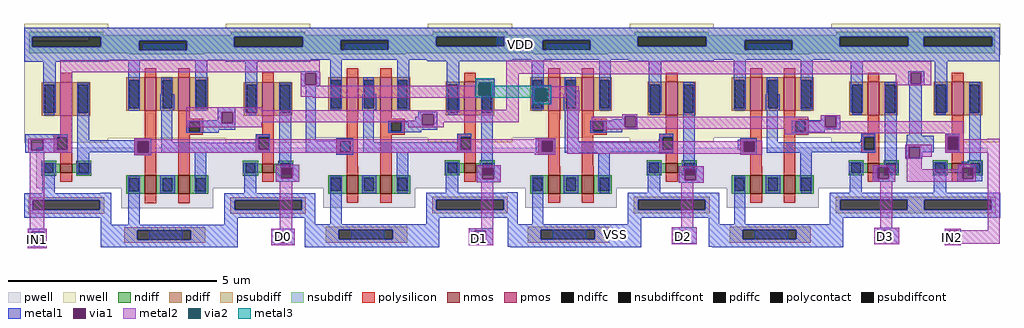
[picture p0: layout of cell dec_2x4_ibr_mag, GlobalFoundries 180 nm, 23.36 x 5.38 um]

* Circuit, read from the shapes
.subckt dec_2x4_ibr_mag IN1 IN2 D0 D1 D2 D3 VSS VDD
XM1 and_2_ibr_0/IN2 IN1 VSS VSS nfet_03v3 w=0.22u l=0.28u
XM2 n1 and_2_ibr_0/IN2 VSS VSS nfet_03v3 w=0.44u l=0.28u
XM3 and_2_ibr_0/nverterlayout_ibr_0/IN and_2_ibr_0/IN1 n1 VSS nfet_03v3 w=0.44u l=0.28u
XM4 D0 and_2_ibr_0/nverterlayout_ibr_0/IN VSS VSS nfet_03v3 w=0.22u l=0.28u
XM5 n2 IN1 VSS VSS nfet_03v3 w=0.44u l=0.28u
XM6 and_2_ibr_1/nverterlayout_ibr_0/IN and_2_ibr_0/IN1 n2 VSS nfet_03v3 w=0.44u l=0.28u
XM7 D1 and_2_ibr_1/nverterlayout_ibr_0/IN VSS VSS nfet_03v3 w=0.22u l=0.28u
XM8 n3 and_2_ibr_0/IN2 VSS VSS nfet_03v3 w=0.44u l=0.28u
XM9 and_2_ibr_2/nverterlayout_ibr_0/IN IN2 n3 VSS nfet_03v3 w=0.44u l=0.28u
XM10 D2 and_2_ibr_2/nverterlayout_ibr_0/IN VSS VSS nfet_03v3 w=0.22u l=0.28u
XM11 n4 IN1 VSS VSS nfet_03v3 w=0.44u l=0.28u
XM12 and_2_ibr_3/nverterlayout_ibr_0/IN IN2 n4 VSS nfet_03v3 w=0.44u l=0.28u
XM13 D3 and_2_ibr_3/nverterlayout_ibr_0/IN VSS VSS nfet_03v3 w=0.22u l=0.28u
XM14 and_2_ibr_0/IN1 IN2 VSS VSS nfet_03v3 w=0.22u l=0.28u
XM15 and_2_ibr_0/IN2 IN1 VDD VDD pfet_03v3 w=0.8u l=0.28u
XM16 and_2_ibr_0/nverterlayout_ibr_0/IN and_2_ibr_0/IN2 VDD VDD pfet_03v3 w=0.8u l=0.28u
XM17 VDD and_2_ibr_0/IN1 and_2_ibr_0/nverterlayout_ibr_0/IN VDD pfet_03v3 w=0.8u l=0.28u
XM18 D0 and_2_ibr_0/nverterlayout_ibr_0/IN VDD VDD pfet_03v3 w=0.8u l=0.28u
XM19 and_2_ibr_1/nverterlayout_ibr_0/IN IN1 VDD VDD pfet_03v3 w=0.8u l=0.28u
XM20 VDD and_2_ibr_0/IN1 and_2_ibr_1/nverterlayout_ibr_0/IN VDD pfet_03v3 w=0.8u l=0.28u
XM21 D1 and_2_ibr_1/nverterlayout_ibr_0/IN VDD VDD pfet_03v3 w=0.8u l=0.28u
XM22 and_2_ibr_2/nverterlayout_ibr_0/IN and_2_ibr_0/IN2 VDD VDD pfet_03v3 w=0.8u l=0.28u
XM23 VDD IN2 and_2_ibr_2/nverterlayout_ibr_0/IN VDD pfet_03v3 w=0.8u l=0.28u
XM24 D2 and_2_ibr_2/nverterlayout_ibr_0/IN VDD VDD pfet_03v3 w=0.8u l=0.28u
XM25 and_2_ibr_3/nverterlayout_ibr_0/IN IN1 VDD VDD pfet_03v3 w=0.8u l=0.28u
XM26 VDD IN2 and_2_ibr_3/nverterlayout_ibr_0/IN VDD pfet_03v3 w=0.8u l=0.28u
XM27 D3 and_2_ibr_3/nverterlayout_ibr_0/IN VDD VDD pfet_03v3 w=0.8u l=0.28u
XM28 and_2_ibr_0/IN1 IN2 VDD VDD pfet_03v3 w=0.8u l=0.28u
.ends

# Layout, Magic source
magic
tech gf180mcuC
magscale 1 10
<< nwell >>
rect 3848 1021 3895 1033
rect 1912 890 2133 892
rect 3801 890 3944 891
rect 1912 888 3944 890
rect 928 835 1020 842
rect 928 773 1021 835
rect 1912 830 3945 888
rect 1764 805 1855 809
rect 1764 773 1856 805
rect 928 771 1856 773
rect 929 720 1856 771
rect 952 715 1856 720
rect 380 654 744 670
rect 531 609 616 654
rect 489 606 616 609
rect 531 600 616 606
rect 380 574 743 600
rect 952 578 1001 715
rect 1912 658 1973 830
rect 2267 828 3945 830
rect 3776 775 3945 828
rect 2036 774 2127 775
rect 2035 771 2127 774
rect 2035 715 2258 771
rect 2035 685 2127 715
rect 2035 684 2126 685
rect 1442 607 1613 657
rect 531 563 616 574
rect 952 553 1000 578
rect 1417 575 1613 607
rect 1835 600 1973 658
rect 2466 625 2539 637
rect 2320 622 3358 625
rect 2466 612 2539 622
rect 2421 607 2539 612
rect 1417 564 1582 575
rect 2466 566 2539 607
rect 3245 608 3359 616
rect 3416 608 3510 632
rect 3841 613 3900 775
rect 3245 599 3510 608
rect 3245 589 3359 599
rect 3416 589 3510 599
rect 3245 566 3510 589
rect -384 517 -254 520
rect 952 519 953 553
rect 1417 551 1505 564
rect 3245 556 3462 566
rect 3245 542 3359 556
<< pwell >>
rect 3811 476 3966 477
rect -64 387 706 476
rect 910 466 3788 476
rect 3796 466 4179 476
rect 910 409 4179 466
rect 910 402 4190 409
rect -50 282 75 387
rect 95 282 706 387
rect 836 330 888 382
rect 913 331 4190 402
rect 913 316 4189 331
rect 913 282 4179 316
<< ndiff >>
rect 836 330 888 382
<< pdiff >>
rect 1781 727 1837 785
rect 2051 700 2107 759
<< psubdiff >>
rect 3851 163 3892 242
<< nsubdiff >>
rect 3848 1014 3895 1033
rect -86 990 4249 1014
rect -372 928 4251 990
<< metal1 >>
rect 3848 1021 3895 1033
rect 1870 920 2080 1020
rect 928 835 1020 842
rect 3835 835 3912 842
rect 928 834 1021 835
rect 928 779 950 834
rect 1003 779 1021 834
rect 928 771 1021 779
rect 3835 783 3847 835
rect 3899 783 3912 835
rect 3835 775 3912 783
rect 531 647 616 670
rect 531 609 550 647
rect 489 606 550 609
rect 531 593 550 606
rect 603 593 616 647
rect 531 563 616 593
rect -389 516 -254 542
rect -389 464 -361 516
rect -304 464 -254 516
rect 132 512 213 522
rect -389 452 -254 464
rect -134 508 213 512
rect -134 456 146 508
rect 132 453 146 456
rect 200 453 213 508
rect 132 442 213 453
rect 952 510 1001 771
rect 2204 650 2261 749
rect 1492 638 1582 649
rect 1492 624 1511 638
rect 1476 607 1511 624
rect 1417 585 1511 607
rect 1564 585 1582 638
rect 1417 564 1582 585
rect 2203 647 2261 650
rect 1417 551 1505 564
rect 2054 510 2146 521
rect 952 452 1167 510
rect 2054 458 2083 510
rect 2135 458 2146 510
rect 2054 452 2146 458
rect 2203 448 2260 647
rect 2466 628 2539 637
rect 2466 612 2479 628
rect 2421 607 2479 612
rect 2466 576 2479 607
rect 2531 576 2539 628
rect 3416 627 3510 632
rect 3416 608 3439 627
rect 2466 566 2539 576
rect 3313 574 3439 608
rect 3492 574 3510 627
rect 3313 566 3510 574
rect 3313 551 3436 566
rect 3841 539 3900 775
rect 3829 535 3900 539
rect 3829 505 3958 535
rect 3826 482 3958 505
rect 3826 430 3838 482
rect 3891 456 3958 482
rect 4013 529 4080 544
rect 4013 468 4024 529
rect 4076 468 4080 529
rect 3891 430 3903 456
rect 4013 454 4080 468
rect 3829 425 3902 430
rect 3829 424 3888 425
rect 810 382 922 396
rect 4091 395 4190 409
rect 4074 394 4190 395
rect 810 330 836 382
rect 888 330 922 382
rect 810 315 922 330
rect 1770 380 1886 392
rect 1770 327 1798 380
rect 1852 327 1886 380
rect 1770 312 1886 327
rect 2737 375 2856 389
rect 2737 322 2766 375
rect 2820 322 2856 375
rect 2737 310 2856 322
rect 3666 383 3773 394
rect 3666 328 3688 383
rect 3743 328 3773 383
rect 4072 380 4190 394
rect 4072 374 4094 380
rect 3666 314 3773 328
rect 4071 328 4094 374
rect 4146 331 4190 380
rect 4146 328 4189 331
rect 4071 316 4189 328
rect -377 75 -286 88
rect -377 8 -362 75
rect -299 8 -286 75
rect -377 -5 -286 8
rect -29 0 22 261
rect 788 76 900 89
rect 788 23 817 76
rect 871 23 900 76
rect 788 10 900 23
rect 948 0 998 260
rect 1732 79 1849 91
rect 1732 26 1759 79
rect 1813 26 1849 79
rect 1732 10 1849 26
rect 1918 4 1968 264
rect 2351 17 2535 101
rect 2704 80 2823 96
rect 2704 27 2734 80
rect 2788 27 2823 80
rect 2704 17 2823 27
rect 2882 2 2932 262
rect 3851 163 3892 242
rect 3674 82 3793 95
rect 3674 29 3704 82
rect 3758 29 3793 82
rect 3674 16 3793 29
rect 4010 80 4087 89
rect 4010 20 4020 80
rect 4078 20 4087 80
rect 4010 10 4087 20
<< via1 >>
rect 950 779 1003 834
rect 3847 783 3899 835
rect 550 593 603 647
rect -361 464 -304 516
rect 146 453 200 508
rect 1511 585 1564 638
rect 2083 458 2135 510
rect 2479 576 2531 628
rect 3439 574 3492 627
rect 3048 457 3101 509
rect 3838 430 3891 482
rect 4024 468 4076 529
rect 836 330 888 382
rect 1798 327 1852 380
rect 2766 322 2820 375
rect 3688 328 3743 383
rect 4094 328 4146 380
rect -362 8 -299 75
rect 817 23 871 76
rect 1759 26 1813 79
rect 2734 27 2788 80
rect 3704 29 3758 82
rect 4020 20 4078 80
<< metal2 >>
rect -222 837 1020 895
rect -376 519 -292 520
rect -222 519 -166 837
rect 928 835 1020 837
rect 1912 890 2133 892
rect 3801 890 3944 891
rect 1912 888 3944 890
rect 1912 835 3945 888
rect 928 834 1021 835
rect 928 779 950 834
rect 1003 779 1021 834
rect 1912 830 3847 835
rect 928 773 1021 779
rect 1765 785 1856 805
rect 1765 773 1781 785
rect 928 771 1781 773
rect 929 727 1781 771
rect 1837 727 1856 785
rect 929 720 1856 727
rect 986 715 1856 720
rect 380 657 744 670
rect 1912 658 1973 830
rect 2267 828 3847 830
rect 3776 783 3847 828
rect 3899 783 3945 835
rect 3776 775 3945 783
rect 2035 771 2126 774
rect 2035 759 2258 771
rect 2035 700 2051 759
rect 2107 749 2258 759
rect 2107 715 2261 749
rect 2107 700 2126 715
rect 2035 684 2126 700
rect 1835 657 1973 658
rect 380 647 1973 657
rect 2204 650 2261 715
rect 380 593 550 647
rect 603 638 1973 647
rect 603 600 1511 638
rect 603 593 743 600
rect 380 574 743 593
rect 1442 585 1511 600
rect 1564 600 1973 638
rect 2203 647 2261 650
rect 1564 585 1613 600
rect 1442 575 1613 585
rect 1472 574 1582 575
rect -376 516 -166 519
rect -376 464 -361 516
rect -304 464 -166 516
rect -376 453 -166 464
rect -369 88 -298 453
rect -222 452 -166 453
rect 132 518 213 522
rect 2049 518 2146 523
rect 132 517 1881 518
rect 2005 517 2146 518
rect 132 510 2146 517
rect 132 508 2083 510
rect 132 453 146 508
rect 200 458 2083 508
rect 2135 458 2146 510
rect 200 453 2146 458
rect 132 452 2146 453
rect 132 442 213 452
rect 2049 443 2146 452
rect 2203 508 2260 647
rect 2466 628 2539 637
rect 2466 625 2479 628
rect 2320 576 2479 625
rect 2531 625 2539 628
rect 3416 627 3510 632
rect 2531 616 3358 625
rect 2531 603 3359 616
rect 3416 603 3439 627
rect 2531 576 3439 603
rect 2320 574 3439 576
rect 3492 603 3510 627
rect 3492 574 4100 603
rect 2320 568 4100 574
rect 2320 566 2490 568
rect 3245 546 4100 568
rect 3245 542 3359 546
rect 4012 544 4100 546
rect 4012 529 4101 544
rect 3031 509 3138 511
rect 3031 508 3048 509
rect 2203 457 3048 508
rect 3101 457 3138 509
rect 2203 449 3138 457
rect 2203 448 2260 449
rect 3031 443 3138 449
rect 3822 482 3948 490
rect 3822 430 3838 482
rect 3891 433 3948 482
rect 4012 468 4024 529
rect 4076 518 4101 529
rect 4216 518 4274 519
rect 4076 468 4274 518
rect 4012 454 4274 468
rect 3891 430 3900 433
rect 3822 424 3900 430
rect 809 382 922 396
rect 809 330 836 382
rect 888 330 922 382
rect 809 315 922 330
rect 1770 380 1886 392
rect 1770 327 1798 380
rect 1852 327 1886 380
rect 828 89 888 315
rect 1770 312 1886 327
rect 2737 375 2856 389
rect 2737 322 2766 375
rect 2820 322 2856 375
rect 1792 91 1849 312
rect 2737 310 2856 322
rect 3666 383 3773 394
rect 3666 328 3688 383
rect 3743 328 3773 383
rect 3666 314 3773 328
rect 3829 374 3900 424
rect 4072 380 4158 398
rect 4072 374 4094 380
rect 3829 328 4094 374
rect 4146 328 4158 380
rect 3829 315 4158 328
rect 2750 96 2807 310
rect -377 75 -286 88
rect -377 8 -362 75
rect -299 8 -286 75
rect 788 76 900 89
rect 788 23 817 76
rect 871 23 900 76
rect 788 10 900 23
rect 1732 79 1849 91
rect 1732 26 1759 79
rect 1813 26 1849 79
rect 1732 10 1849 26
rect 2704 80 2823 96
rect 3703 95 3760 314
rect 2704 27 2734 80
rect 2788 27 2823 80
rect 2704 16 2823 27
rect 3674 82 3793 95
rect 3674 29 3704 82
rect 3758 29 3793 82
rect 3674 16 3793 29
rect 4010 81 4087 89
rect 4216 81 4274 454
rect 4010 80 4274 81
rect 4010 20 4020 80
rect 4078 20 4274 80
rect 4010 17 4274 20
rect 4010 10 4087 17
rect -377 -5 -286 8
<< via2 >>
rect 1781 727 1837 785
rect 2051 700 2107 759
<< metal3 >>
rect 1764 785 1855 809
rect 1764 727 1781 785
rect 1837 773 1855 785
rect 2036 773 2127 775
rect 1837 759 2127 773
rect 1837 727 2051 759
rect 1764 719 2051 727
rect 1784 716 2051 719
rect 2036 700 2051 716
rect 2107 700 2127 759
rect 2036 685 2127 700
use and_2_ibr  and_2_ibr_0
transform 1 0 -257 0 1 -996
box 257 996 1231 2066
use and_2_ibr  and_2_ibr_1
transform 1 0 709 0 1 -995
box 257 996 1231 2066
use and_2_ibr  and_2_ibr_2
transform 1 0 1675 0 1 -995
box 257 996 1231 2066
use and_2_ibr  and_2_ibr_3
transform 1 0 2641 0 1 -995
box 257 996 1231 2066
use nverterlayout_ibr  nverterlayout_ibr_0
transform 1 0 -308 0 1 -79
box -88 220 316 1149
use nverterlayout_ibr  nverterlayout_ibr_1
transform 1 0 3959 0 1 -78
box -88 220 316 1149
<< labels >>
flabel via1 -331 38 -331 38 0 FreeSans 480 0 0 0 IN1
port 1 nsew
flabel via1 4046 46 4046 46 0 FreeSans 480 0 0 0 IN2
port 2 nsew
flabel via1 845 50 845 50 0 FreeSans 480 0 0 0 D0
port 3 nsew
flabel via1 1786 42 1786 42 0 FreeSans 480 0 0 0 D1
port 4 nsew
flabel via1 2761 50 2761 50 0 FreeSans 480 0 0 0 D2
port 5 nsew
flabel via1 3729 50 3729 50 0 FreeSans 480 0 0 0 D3
port 6 nsew
flabel metal1 2436 63 2436 63 0 FreeSans 480 0 0 0 VSS
port 7 nsew
flabel metal1 1978 970 1978 970 0 FreeSans 480 0 0 0 VDD
port 8 nsew
<< end >>

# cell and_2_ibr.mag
magic
tech gf180mcuC
magscale 1 10
<< nwell >>
rect 823 1889 833 2007
<< pwell >>
rect 663 1396 891 1472
rect 762 1278 890 1396
<< metal1 >>
rect 430 1910 630 1970
rect 823 1889 833 2007
rect 730 1560 780 1590
rect 1090 1500 1130 1580
rect 400 1460 450 1490
rect 727 1450 984 1497
rect 819 1159 828 1256
rect 460 1020 620 1080
rect 819 996 883 1159
use nand2_ibr  nand2_ibr_0
transform 1 0 327 0 1 1184
box -70 -188 502 863
use nverterlayout_ibr  nverterlayout_ibr_0
transform 1 0 915 0 1 917
box -88 220 316 1149
<< labels >>
flabel metal1 535 1056 535 1056 0 FreeSans 480 0 0 0 VSS
port 0 nsew
flabel metal1 525 1933 525 1933 0 FreeSans 480 0 0 0 VDD
port 1 nsew
flabel metal1 429 1474 429 1474 0 FreeSans 480 0 0 0 IN2
port 2 nsew
flabel metal1 1114 1540 1114 1540 0 FreeSans 480 0 0 0 OUT
port 4 nsew
flabel metal1 753 1572 753 1572 0 FreeSans 480 0 0 0 IN1
port 5 nsew
<< end >>

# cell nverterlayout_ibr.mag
magic
tech gf180mcuC
magscale 1 10
<< nwell >>
rect -88 1000 316 1149
rect -88 968 315 1000
rect 4 724 63 960
rect 64 612 121 621
<< pwell >>
rect 64 534 121 540
rect 54 532 121 534
<< psubdiff >>
rect -67 305 295 320
rect -67 258 -46 305
rect 275 258 295 305
rect -67 241 295 258
<< nsubdiff >>
rect -64 1086 292 1111
rect -64 1040 -48 1086
rect 279 1040 292 1086
rect -64 1027 292 1040
<< psubdiffcont >>
rect -46 258 275 305
<< nsubdiffcont >>
rect -48 1040 279 1086
<< polysilicon >>
rect 86 621 142 672
rect 54 606 142 621
rect 54 546 70 606
rect 118 546 142 606
rect 54 532 142 546
rect 86 524 142 532
<< polycontact >>
rect 70 546 118 606
<< metal1 >>
rect -88 1086 315 1130
rect -88 1040 -48 1086
rect 279 1040 315 1086
rect -88 968 315 1040
rect 4 724 63 968
rect 54 606 121 621
rect 54 596 70 606
rect 53 546 70 596
rect 118 546 121 606
rect 53 532 121 546
rect -1 339 58 485
rect 168 429 224 867
rect -88 305 316 339
rect -88 258 -46 305
rect 275 258 316 305
rect -88 220 316 258
use nmos_3p3_DDNVWA  nmos_3p3_DDNVWA_0
transform 1 0 114 0 1 458
box -144 -97 144 97
use pmos_3p3_MQGBLR  pmos_3p3_MQGBLR_0
transform 1 0 114 0 1 790
box -202 -210 202 210
<< labels >>
flabel nsubdiffcont 116 1065 116 1065 0 FreeSans 480 0 0 0 VDD
port 0 nsew
flabel psubdiffcont 113 283 113 283 0 FreeSans 480 0 0 0 VSS
port 1 nsew
flabel metal1 194 631 194 631 0 FreeSans 480 0 0 0 OUT
port 2 nsew
flabel polycontact 92 575 92 575 0 FreeSans 480 0 0 0 IN
port 3 nsew
<< end >>

# cell nmos_3p3_DDNVWA: kit device nmos_3p3, w 0.220 l 0.280 m 1 nf 1 diffcov 100 polycov 100 guard 0 glc 0 grc 0 gtc 0 gbc 0 tbcov 100 rlcov 100 topc 0 botc 0 poverlap 0 doverlap 1 lmin 0.28 wmin 0.22 full_metal 0 compatible {nmos_3p3 nmos_6p0 nmos_6p0_nat}

# cell pmos_3p3_MQGBLR: kit device pmos_3p3, w 0.8 l 0.280 m 1 nf 1 diffcov 100 polycov 100 guard 0 glc 0 grc 0 gtc 0 gbc 0 tbcov 100 rlcov 100 topc 0 botc 0 poverlap 0 doverlap 1 lmin 0.28 wmin 0.22 full_metal 0 compatible {pmos_3p3 pmos_6p0}

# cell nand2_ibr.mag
magic
tech gf180mcuC
magscale 1 10
<< nwell >>
rect -64 708 500 863
rect -64 682 32 708
rect 33 682 500 708
rect 191 384 243 624
<< psubdiff >>
rect 13 -105 402 -91
rect 13 -151 75 -105
rect 333 -151 402 -105
rect 13 -167 402 -151
<< nsubdiff >>
rect 41 802 395 826
rect 41 756 85 802
rect 312 756 395 802
rect 41 736 395 756
<< psubdiffcont >>
rect 75 -151 333 -105
<< nsubdiffcont >>
rect 85 756 312 802
<< polysilicon >>
rect 311 421 391 427
rect 112 334 166 421
rect 63 318 166 334
rect 63 268 81 318
rect 130 268 166 318
rect 63 254 166 268
rect 112 200 166 254
rect 272 414 391 421
rect 272 366 326 414
rect 374 366 391 414
rect 272 360 391 366
rect 272 350 390 360
rect 272 200 327 350
<< polycontact >>
rect 81 268 130 318
rect 326 366 374 414
<< metal1 >>
rect -64 817 500 863
rect -64 802 499 817
rect -64 756 85 802
rect 312 756 499 802
rect -64 708 499 756
rect 33 471 89 708
rect 191 545 243 624
rect 186 470 253 545
rect 354 473 411 708
rect 63 325 144 334
rect 53 318 144 325
rect 53 278 81 318
rect 63 268 81 278
rect 130 268 144 318
rect 63 254 144 268
rect 191 314 243 470
rect 311 414 465 418
rect 311 366 326 414
rect 374 366 465 414
rect 311 361 465 366
rect 311 360 391 361
rect 191 265 406 314
rect 34 -79 88 149
rect 186 70 255 156
rect 351 80 406 265
rect -70 -105 493 -79
rect -70 -151 75 -105
rect 333 -151 493 -105
rect -70 -188 493 -151
use nmos_3p3_5QNVWA  nmos_3p3_5QNVWA_0
transform 1 0 140 0 1 112
box -140 -112 140 112
use nmos_3p3_5QNVWA  nmos_3p3_5QNVWA_1
transform 1 0 300 0 1 112
box -140 -112 140 112
use pmos_3p3_M8SWPS  pmos_3p3_M8SWPS_0
transform 1 0 300 0 1 545
box -202 -210 202 210
use pmos_3p3_M8SWPS  pmos_3p3_M8SWPS_1
transform 1 0 140 0 1 545
box -202 -210 202 210
<< labels >>
flabel polycontact 101 293 101 293 0 FreeSans 480 0 0 0 IN2
port 1 nsew
flabel metal1 425 394 425 394 0 FreeSans 480 0 0 0 IN1
port 2 nsew
flabel metal1 374 282 374 282 0 FreeSans 480 0 0 0 OUT
port 3 nsew
flabel psubdiffcont 204 -128 204 -128 0 FreeSans 480 0 0 0 VSS
port 4 nsew
flabel nsubdiffcont 200 777 200 777 0 FreeSans 480 0 0 0 VDD
port 0 nsew
<< end >>

# cell nmos_3p3_5QNVWA: kit device nmos_3p3, w 0.440 l 0.280 m 1 nf 1 diffcov 100 polycov 100 guard 0 glc 0 grc 0 gtc 0 gbc 0 tbcov 100 rlcov 100 topc 0 botc 0 poverlap 0 doverlap 1 lmin 0.28 wmin 0.22 full_metal 0 compatible {nmos_3p3 nmos_6p0 nmos_6p0_nat}

# cell pmos_3p3_M8SWPS: kit device pmos_3p3, w 0.80 l 0.280 m 1 nf 1 diffcov 100 polycov 100 guard 0 glc 0 grc 0 gtc 0 gbc 0 tbcov 100 rlcov 100 topc 0 botc 0 poverlap 0 doverlap 1 lmin 0.28 wmin 0.22 full_metal 0 compatible {pmos_3p3 pmos_6p0}
